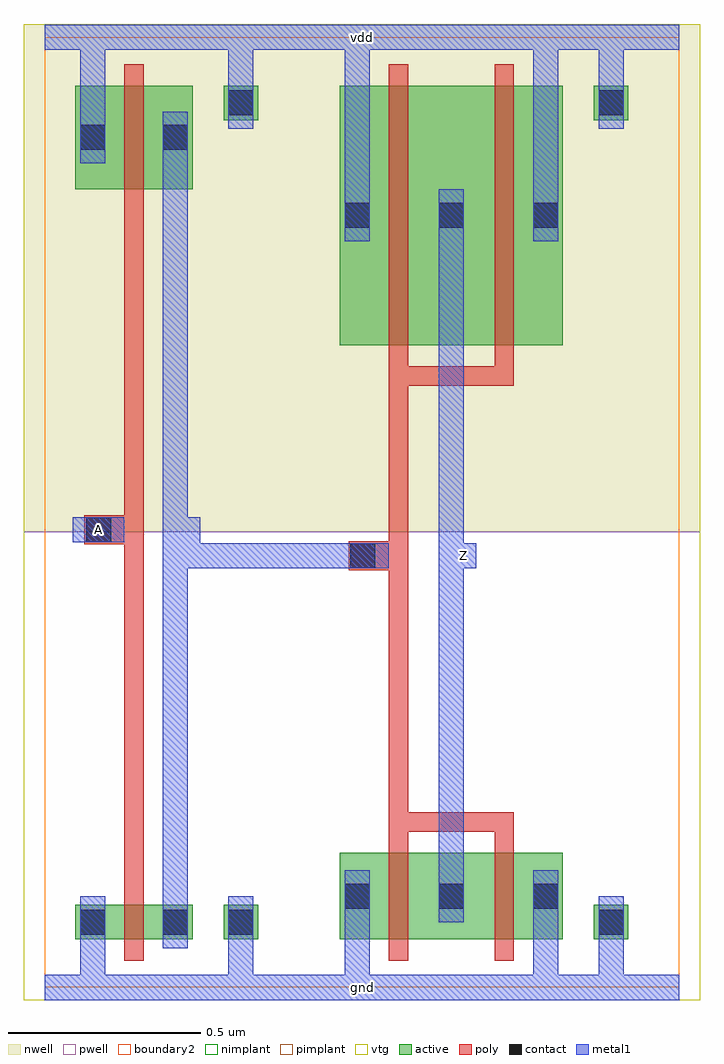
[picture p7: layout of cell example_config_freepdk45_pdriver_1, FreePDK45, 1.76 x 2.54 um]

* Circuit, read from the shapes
.subckt example_config_freepdk45_pdriver_1 A Z gnd vdd
M1 example_config_freepdk45_pinv_7_1/A A gnd gnd nfet w=0.09u l=0.05u
M2 Z example_config_freepdk45_pinv_7_1/A gnd gnd nfet w=0.225u l=0.05u m=2
M3 example_config_freepdk45_pinv_7_1/A A vdd vdd pfet w=0.27u l=0.05u
M4 Z example_config_freepdk45_pinv_7_1/A vdd vdd pfet w=0.675u l=0.05u m=2
.ends

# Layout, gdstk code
import gdstk
lib = gdstk.Library(unit=1e-6, precision=5e-10)
def R(c, l, rs):  # rectangles x0, y0, x1, y1
    for r in rs: c.add(gdstk.rectangle(r[:2], r[2:], *l))
def A(c, l, x, y, w, h, nx, ny, dx, dy):  # array of equal rectangles
    R(c, l, [(x+i*dx, y+j*dy, x+i*dx+w, y+j*dy+h) for i in range(nx) for j in range(ny)])
active = (1, 0)
pwell = (2, 0)
nwell = (3, 0)
nimplant = (4, 0)
pimplant = (5, 0)
vtg = (6, 0)
poly = (9, 0)
contact = (10, 0)
metal1 = (11, 0)
boundary2 = (239, 0)

example_config_freepdk45 = lib.new_cell('example_config_freepdk45_contact_11')
R(example_config_freepdk45, active, [(0,0.0225,0.09,0.1125)])
R(example_config_freepdk45, nwell, [(-0.055,-0.0325,0.145,0.1675)])
R(example_config_freepdk45, pimplant, [(0,0.0225,0.09,0.1125)])
R(example_config_freepdk45, contact, [(0.0125,0.035,0.0775,0.1)])
R(example_config_freepdk45, metal1, [(0.0125,0,0.0775,0.135)])
R(example_config_freepdk45, boundary2, [(-0.055,-0.0325,0.145,0.1675)])

c_example_config_freepdk45 = lib.new_cell('example_config_freepdk45_pmos_m1_w0_270_sm1_dm1_da_p')
R(c_example_config_freepdk45, active, [(0,0,0.305,0.27)])
R(c_example_config_freepdk45, nwell, [(-0.08,-0.08,0.385,0.35)])
R(c_example_config_freepdk45, pimplant, [(0,0,0.305,0.27)])
R(c_example_config_freepdk45, vtg, [(-0.08,-0.08,0.385,0.35)])
R(c_example_config_freepdk45, poly, [(0.1275,-0.055,0.1775,0.325), (0.1275,-0.055,0.1775,0.325)])
R(c_example_config_freepdk45, metal1, [(0.0125,0.0675,0.0775,0.2025), (0.2275,0.0675,0.2925,0.2025)])
R(c_example_config_freepdk45, boundary2, [(-0.08,-0.08,0.385,0.35)])
c_example_config_freepdk45.add(gdstk.Reference(example_config_freepdk45, (0,0.0675)))
c_example_config_freepdk45.add(gdstk.Reference(example_config_freepdk45, (0.215,0.0675)))
c_example_config_freepdk45.add(gdstk.Label('G', (0.1525,0.135), layer=9, texttype=0))
c_example_config_freepdk45.add(gdstk.Label('S', (0.045,0.135), layer=11, texttype=0))
c_example_config_freepdk45.add(gdstk.Label('D', (0.26,0.135), layer=11, texttype=0))

c_example_config_freepdk45_ = lib.new_cell('example_config_freepdk45_contact_10')
R(c_example_config_freepdk45_, active, [(0,0.0225,0.09,0.1125)])
R(c_example_config_freepdk45_, pwell, [(-0.055,-0.0325,0.145,0.1675)])
R(c_example_config_freepdk45_, nimplant, [(0,0.0225,0.09,0.1125)])
R(c_example_config_freepdk45_, contact, [(0.0125,0.035,0.0775,0.1)])
R(c_example_config_freepdk45_, metal1, [(0.0125,0,0.0775,0.135)])
R(c_example_config_freepdk45_, boundary2, [(-0.055,-0.0325,0.145,0.1675)])

c_example_config_freepdk45__ = lib.new_cell('example_config_freepdk45_nmos_m1_w0_090_sm1_dm1_da_p')
R(c_example_config_freepdk45__, active, [(0,0,0.305,0.09)])
R(c_example_config_freepdk45__, pwell, [(-0.08,-0.08,0.385,0.17)])
R(c_example_config_freepdk45__, nimplant, [(0,0,0.305,0.09)])
R(c_example_config_freepdk45__, vtg, [(-0.08,-0.08,0.385,0.17)])
R(c_example_config_freepdk45__, poly, [(0.1275,-0.055,0.1775,0.145), (0.1275,-0.055,0.1775,0.145)])
R(c_example_config_freepdk45__, metal1, [(0.0125,-0.0225,0.0775,0.1125), (0.2275,-0.0225,0.2925,0.1125)])
R(c_example_config_freepdk45__, boundary2, [(-0.08,-0.08,0.385,0.17)])
c_example_config_freepdk45__.add(gdstk.Reference(c_example_config_freepdk45_, (0,-0.0225)))
c_example_config_freepdk45__.add(gdstk.Reference(c_example_config_freepdk45_, (0.215,-0.0225)))
c_example_config_freepdk45__.add(gdstk.Label('G', (0.1525,0.045), layer=9, texttype=0))
c_example_config_freepdk45__.add(gdstk.Label('S', (0.045,0.045), layer=11, texttype=0))
c_example_config_freepdk45__.add(gdstk.Label('D', (0.26,0.045), layer=11, texttype=0))

c_example_config_freepdk45___ = lib.new_cell('example_config_freepdk45_contact_12')
R(c_example_config_freepdk45___, active, [(0,0.0225,0.09,0.1125)])
R(c_example_config_freepdk45___, nwell, [(-0.055,-0.0325,0.145,0.1675)])
R(c_example_config_freepdk45___, nimplant, [(0,0.0225,0.09,0.1125)])
R(c_example_config_freepdk45___, contact, [(0.0125,0.035,0.0775,0.1)])
R(c_example_config_freepdk45___, metal1, [(0.0125,0,0.0775,0.135)])
R(c_example_config_freepdk45___, boundary2, [(-0.055,-0.0325,0.145,0.1675)])

c_example_config_freepdk45____ = lib.new_cell('example_config_freepdk45_contact_13')
R(c_example_config_freepdk45____, active, [(0,0.0225,0.09,0.1125)])
R(c_example_config_freepdk45____, pwell, [(-0.055,-0.0325,0.145,0.1675)])
R(c_example_config_freepdk45____, pimplant, [(0,0.0225,0.09,0.1125)])
R(c_example_config_freepdk45____, contact, [(0.0125,0.035,0.0775,0.1)])
R(c_example_config_freepdk45____, metal1, [(0.0125,0,0.0775,0.135)])
R(c_example_config_freepdk45____, boundary2, [(-0.055,-0.0325,0.145,0.1675)])

c_example_config_freepdk45_____ = lib.new_cell('example_config_freepdk45_contact_14')
R(c_example_config_freepdk45_____, poly, [(0.03,0,0.105,0.075)])
R(c_example_config_freepdk45_____, contact, [(0.035,0.005,0.1,0.07)])
R(c_example_config_freepdk45_____, metal1, [(0,0.005,0.135,0.07)])
R(c_example_config_freepdk45_____, boundary2, [(0,0,0.135,0.075)])

c_example_config_freepdk45______ = lib.new_cell('example_config_freepdk45_pinv_5')
R(c_example_config_freepdk45______, pwell, [(-0.055,-0.0325,0.7425,1.185)])
R(c_example_config_freepdk45______, nwell, [(-0.055,1.185,0.7425,2.505)])
R(c_example_config_freepdk45______, vtg, [(-0.055,-0.0325,0.7425,1.185), (-0.055,1.185,0.7425,2.505)])
R(c_example_config_freepdk45______, poly, [(0.2075,0.27,0.2575,2.02), (0.14,1.1525,0.2075,1.2275)])
R(c_example_config_freepdk45______, metal1, [(0,-0.0325,0.6875,0.0325), (0.0925,-0.0325,0.1575,0.1025), (0.4775,0,0.5425,0.17), (0.3075,0.1025,0.3725,2.2775), (0.0725,1.1575,0.2075,1.2225), (0.34,1.1575,0.405,1.2225), (0.0925,2.1425,0.1575,2.5025), (0.4775,2.3,0.5425,2.47), (0,2.4375,0.6875,2.5025)])
R(c_example_config_freepdk45______, boundary2, [(0,0,0.6875,2.47), (0,0,0.6875,2.47)])
c_example_config_freepdk45______.add(gdstk.Reference(c_example_config_freepdk45, (0.08,2.075)))
c_example_config_freepdk45______.add(gdstk.Reference(c_example_config_freepdk45__, (0.08,0.125)))
c_example_config_freepdk45______.add(gdstk.Reference(c_example_config_freepdk45___, (0.465,2.2325)))
c_example_config_freepdk45______.add(gdstk.Reference(c_example_config_freepdk45____, (0.465,0.1025)))
c_example_config_freepdk45______.add(gdstk.Reference(c_example_config_freepdk45_____, (0.0725,1.1525)))
c_example_config_freepdk45______.add(gdstk.Label('A', (0.14,1.19), layer=11, texttype=0))
c_example_config_freepdk45______.add(gdstk.Label('Z', (0.3725,1.19), layer=11, texttype=0))
c_example_config_freepdk45______.add(gdstk.Label('gnd', (0.344,0), layer=11, texttype=0))
c_example_config_freepdk45______.add(gdstk.Label('vdd', (0.344,2.47), layer=11, texttype=0))

c_example_config_freepdk45_______ = lib.new_cell('example_config_freepdk45_pmos_m2_w0_675_sm1_dm1_da_p')
R(c_example_config_freepdk45_______, active, [(0,0,0.58,0.675)])
R(c_example_config_freepdk45_______, nwell, [(-0.08,-0.08,0.66,0.755)])
R(c_example_config_freepdk45_______, pimplant, [(0,0,0.58,0.675)])
R(c_example_config_freepdk45_______, vtg, [(-0.08,-0.08,0.66,0.755)])
R(c_example_config_freepdk45_______, poly, [(0.1275,-0.105,0.4525,-0.055), (0.1275,-0.055,0.1775,0.73), (0.4025,-0.055,0.4525,0.73)])
A(c_example_config_freepdk45_______, metal1, 0.0125, 0.27, 0.065, 0.135, 3, 1, 0.245, 0)
R(c_example_config_freepdk45_______, boundary2, [(-0.08,-0.105,0.66,0.755)])
c_example_config_freepdk45_______.add(gdstk.Reference(example_config_freepdk45, (0,0.27)))
c_example_config_freepdk45_______.add(gdstk.Reference(example_config_freepdk45, (0.245,0.27)))
c_example_config_freepdk45_______.add(gdstk.Reference(example_config_freepdk45, (0.49,0.27)))
c_example_config_freepdk45_______.add(gdstk.Label('G', (0.29,-0.08), layer=9, texttype=0))
c_example_config_freepdk45_______.add(gdstk.Label('S', (0.045,0.3375), layer=11, texttype=0))
c_example_config_freepdk45_______.add(gdstk.Label('S', (0.535,0.3375), layer=11, texttype=0))
c_example_config_freepdk45_______.add(gdstk.Label('D', (0.29,0.3375), layer=11, texttype=0))

c_example_config_freepdk45________ = lib.new_cell('example_config_freepdk45_nmos_m2_w0_225_sm1_dm1_da_p')
R(c_example_config_freepdk45________, active, [(0,0,0.58,0.225)])
R(c_example_config_freepdk45________, pwell, [(-0.08,-0.08,0.66,0.305)])
R(c_example_config_freepdk45________, nimplant, [(0,0,0.58,0.225)])
R(c_example_config_freepdk45________, vtg, [(-0.08,-0.08,0.66,0.305)])
R(c_example_config_freepdk45________, poly, [(0.1275,-0.055,0.1775,0.28), (0.4025,-0.055,0.4525,0.28), (0.1275,0.28,0.4525,0.33)])
A(c_example_config_freepdk45________, metal1, 0.0125, 0.045, 0.065, 0.135, 3, 1, 0.245, 0)
R(c_example_config_freepdk45________, boundary2, [(-0.08,-0.08,0.66,0.33)])
c_example_config_freepdk45________.add(gdstk.Reference(c_example_config_freepdk45_, (0,0.045)))
c_example_config_freepdk45________.add(gdstk.Reference(c_example_config_freepdk45_, (0.245,0.045)))
c_example_config_freepdk45________.add(gdstk.Reference(c_example_config_freepdk45_, (0.49,0.045)))
c_example_config_freepdk45________.add(gdstk.Label('G', (0.29,0.305), layer=9, texttype=0))
c_example_config_freepdk45________.add(gdstk.Label('S', (0.535,0.1125), layer=11, texttype=0))
c_example_config_freepdk45________.add(gdstk.Label('S', (0.045,0.1125), layer=11, texttype=0))
c_example_config_freepdk45________.add(gdstk.Label('D', (0.29,0.1125), layer=11, texttype=0))

c_example_config_freepdk45_________ = lib.new_cell('example_config_freepdk45_pinv_7')
R(c_example_config_freepdk45_________, pwell, [(-0.055,-0.0325,1.0175,1.185)])
R(c_example_config_freepdk45_________, nwell, [(-0.055,1.185,1.0175,2.505)])
R(c_example_config_freepdk45_________, vtg, [(-0.055,-0.0325,1.0175,1.185), (-0.055,1.185,1.0175,2.505)])
R(c_example_config_freepdk45_________, poly, [(0.2075,0.455,0.2575,1.565), (0.14,1.085,0.2075,1.16)])
R(c_example_config_freepdk45_________, metal1, [(0,-0.0325,0.9625,0.0325), (0.0925,-0.0325,0.1575,0.17), (0.5825,-0.0325,0.6475,0.17), (0.7525,0,0.8175,0.17), (0.3375,0.17,0.4025,2.075), (0.0725,1.09,0.2075,1.155), (0.37,1.09,0.435,1.155), (0.0925,1.94,0.1575,2.5025), (0.5825,1.94,0.6475,2.5025), (0.7525,2.3,0.8175,2.47), (0,2.4375,0.9625,2.5025)])
R(c_example_config_freepdk45_________, boundary2, [(0,0,0.9625,2.47), (0,0,0.9625,2.47)])
c_example_config_freepdk45_________.add(gdstk.Reference(c_example_config_freepdk45_______, (0.08,1.67)))
c_example_config_freepdk45_________.add(gdstk.Reference(c_example_config_freepdk45________, (0.08,0.125)))
c_example_config_freepdk45_________.add(gdstk.Reference(c_example_config_freepdk45___, (0.74,2.2325)))
c_example_config_freepdk45_________.add(gdstk.Reference(c_example_config_freepdk45____, (0.74,0.1025)))
c_example_config_freepdk45_________.add(gdstk.Reference(c_example_config_freepdk45_____, (0.0725,1.085)))
c_example_config_freepdk45_________.add(gdstk.Label('A', (0.14,1.1225), layer=11, texttype=0))
c_example_config_freepdk45_________.add(gdstk.Label('Z', (0.4025,1.1225), layer=11, texttype=0))
c_example_config_freepdk45_________.add(gdstk.Label('gnd', (0.481,0), layer=11, texttype=0))
c_example_config_freepdk45_________.add(gdstk.Label('vdd', (0.481,2.47), layer=11, texttype=0))

c_example_config_freepdk45__________ = lib.new_cell('example_config_freepdk45_pdriver_1')
R(c_example_config_freepdk45__________, pwell, [(-0.055,-0.0325,1.705,1.185)])
R(c_example_config_freepdk45__________, nwell, [(-0.055,1.185,1.705,2.505)])
R(c_example_config_freepdk45__________, vtg, [(-0.055,-0.0325,1.705,1.185), (-0.055,1.185,1.705,2.505)])
R(c_example_config_freepdk45__________, metal1, [(0,-0.0325,1.65,0.0325), (0.34,1.09,0.405,1.155), (0.3725,1.09,0.8275,1.155), (1.0575,1.09,1.1225,1.155), (0.34,1.1225,0.405,1.19), (0.0725,1.1575,0.2075,1.2225), (0,2.4375,1.65,2.5025)])
R(c_example_config_freepdk45__________, boundary2, [(0,0,1.65,2.47), (0,0,1.65,2.47)])
c_example_config_freepdk45__________.add(gdstk.Reference(c_example_config_freepdk45______, (0,0)))
c_example_config_freepdk45__________.add(gdstk.Reference(c_example_config_freepdk45_________, (0.6875,0)))
c_example_config_freepdk45__________.add(gdstk.Label('Z', (1.09,1.1225), layer=11, texttype=0))
c_example_config_freepdk45__________.add(gdstk.Label('A', (0.14,1.19), layer=11, texttype=0))
c_example_config_freepdk45__________.add(gdstk.Label('gnd', (0.825,0), layer=11, texttype=0))
c_example_config_freepdk45__________.add(gdstk.Label('vdd', (0.825,2.47), layer=11, texttype=0))

lib.write_gds('example_config_freepdk45_pdriver_1.gds')
